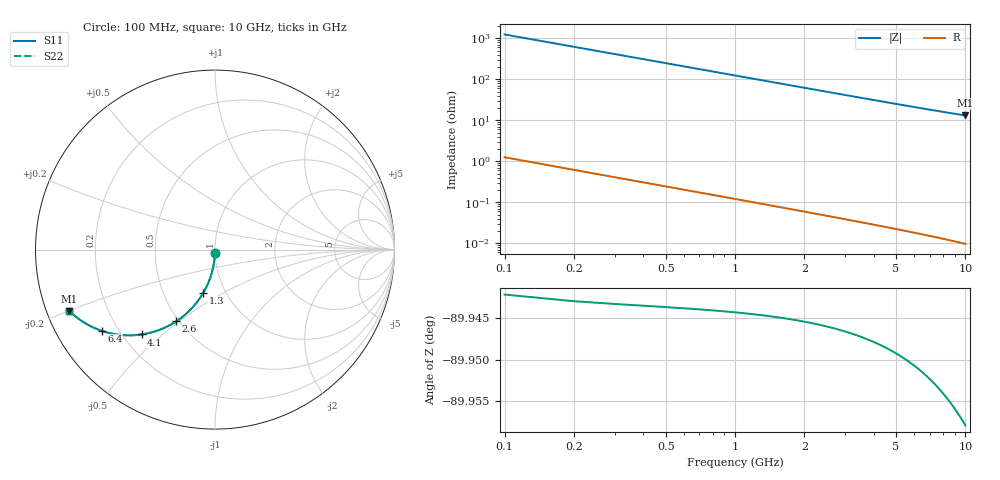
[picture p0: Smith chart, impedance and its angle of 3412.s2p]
# Hz S RI R 50.00
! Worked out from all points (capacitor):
!   100 points, 100 MHz to 10 GHz, reference 50 ohm
!   read as one part in shunt: C = 1.28 pF near 100 MHz
!   lowest |Z| = 13.1 ohm at 10 GHz (marker M1)
!   S11 on the Smith chart (normalised r, x): 100 MHz: 1.00, -0.04; 1.3 GHz: 0.79, -0.40; 2.6 GHz: 0.48, -0.49; 4.1 GHz: 0.28, -0.43; 6.4 GHz: 0.14, -0.32; 10 GHz: 0.07, -0.20
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1e8  -0.00031 -0.0197  0.9995 -0.0206  0.9995 -0.0206  -0.00031 -0.0197
2e8  -0.00154 -0.0393  0.9982 -0.0411  0.9982 -0.0411  -0.00154 -0.0393
3e8  -0.00358 -0.0589  0.9962 -0.0616  0.9962 -0.0616  -0.00358 -0.0589
4e8  -0.00641 -0.0783  0.9933 -0.0818  0.9933 -0.0818  -0.00641 -0.0783
5e8  -0.01 -0.0975  0.9897 -0.102  0.9897 -0.102  -0.01 -0.0975
6e8  -0.0144 -0.1165  0.9853 -0.1218  0.9853 -0.1218  -0.0144 -0.1165
7e8  -0.0195 -0.1352  0.9802 -0.1414  0.9802 -0.1414  -0.0195 -0.1352
8e8  -0.0254 -0.1536  0.9744 -0.1607  0.9744 -0.1607  -0.0254 -0.1536
1e9  -0.0391 -0.1892  0.9606 -0.1981  0.9606 -0.1981  -0.0391 -0.1892
1.3e9  -0.0644 -0.2394  0.9353 -0.251  0.9353 -0.251  -0.0644 -0.2394
1.5e9  -0.084 -0.2704  0.9157 -0.2838  0.9157 -0.2838  -0.084 -0.2704
1.8e9  -0.1167 -0.3127  0.8829 -0.3288  0.8829 -0.3288  -0.1167 -0.3127
2.2e9  -0.165 -0.361  0.8346 -0.3807  0.8346 -0.3807  -0.165 -0.361
2.6e9  -0.2165 -0.3999  0.783 -0.4231  0.783 -0.4231  -0.2165 -0.3999
3.4e9  -0.3216 -0.4515  0.6776 -0.482  0.6776 -0.482  -0.3216 -0.4515
4.1e9  -0.409 -0.4728  0.5901 -0.5097  0.5901 -0.5097  -0.409 -0.4728
5.1e9  -0.5186 -0.476  0.4801 -0.5222  0.4801 -0.5222  -0.5186 -0.476
6.4e9  -0.6312 -0.4525  0.3668 -0.5109  0.3668 -0.5109  -0.6312 -0.4525
6.7e9  -0.6528 -0.4446  0.345 -0.5058  0.345 -0.5058  -0.6528 -0.4446
7.5e9  -0.7034 -0.4212  0.294 -0.4901  0.294 -0.4901  -0.7034 -0.4212
8.4e9  -0.7498 -0.3927  0.2469 -0.4705  0.2469 -0.4705  -0.7498 -0.3927
1e10  -0.8115 -0.3417  0.1838 -0.4356  0.1838 -0.4356  -0.8115 -0.3417
